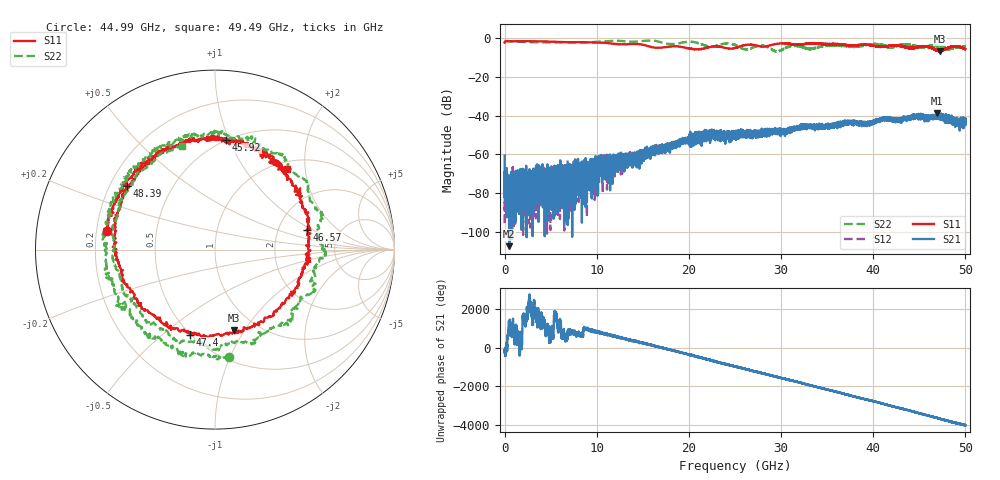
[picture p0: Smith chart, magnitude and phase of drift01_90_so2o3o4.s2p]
!Created with skrf (http://scikit-rf.org).
# Hz S RI R 50.0
!freq ReS11 ImS11 ReS21 ImS21 ReS12 ImS12 ReS22 ImS22
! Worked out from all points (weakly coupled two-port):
!   10001 points, 300 kHz to 50 GHz, reference 50 ohm
!   highest |S21| = -38.79 dB at 46.91 GHz (marker M1); lowest = -107.5 dB at 510.3 MHz (marker M2)
!   lowest |S11| = -6.8 dB at 47.21 GHz (marker M3), VSWR 2.70, Z = 39.4 - j44.7 ohm
!   |S11| at or under -10 dB: nowhere
!   |S22| runs from -6.9 to -1.0 dB; largest |S21 - S12| = 0.004
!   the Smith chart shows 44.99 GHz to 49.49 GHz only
!   S11 on the Smith chart (normalised r, x): 44.99 GHz: 0.24, +0.08; 45.92 GHz: 0.50, +0.98; 46.57 GHz: 2.91, +0.87; 47.4 GHz: 0.50, -0.62; 48.39 GHz: 0.27, +0.30; 49.49 GHz: 1.14, +1.61
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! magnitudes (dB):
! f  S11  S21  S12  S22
! 300 kHz  -2.1  -60.6  -69.1  -1.3
! 255.3 MHz  -1.4  -76.8  -76.2  -1.4
! 510.3 MHz  -1.5  -107.5  -95.0  -1.4
! 4.585 GHz  -1.6  -75.3  -80.3  -2.1
! 8.335 GHz  -1.9  -68.5  -76.0  -2.1
! 16.67 GHz  -4.8  -58.1  -57.7  -1.6
! 21.65 GHz  -5.2  -52.0  -50.2  -3.5
! 25 GHz  -5.0  -48.0  -50.6  -3.4
! 28.09 GHz  -4.3  -49.0  -48.3  -3.8
! 29.52 GHz  -2.8  -48.8  -48.2  -6.7
! 31.3 GHz  -3.1  -46.2  -46.5  -3.9
! 33.34 GHz  -2.6  -45.7  -46.2  -5.4
! 41.67 GHz  -3.9  -41.4  -41.7  -4.5
! 44.99 GHz  -4.3  -40.8  -40.8  -4.4
! 45.92 GHz  -4.2  -40.4  -40.8  -4.0
! 46.57 GHz  -5.6  -40.4  -40.3  -3.8
! 46.91 GHz  -6.3  -38.8  -40.9  -4.1
! 47.21 GHz  -6.8  -39.9  -40.8  -4.5
! 47.4 GHz  -6.2  -40.5  -41.5  -4.7
! 48.39 GHz  -4.4  -42.3  -42.6  -5.5
! 49.49 GHz  -4.4  -42.7  -43.5  -4.3
! 50 GHz  -5.5  -41.6  -43.2  -4.2
